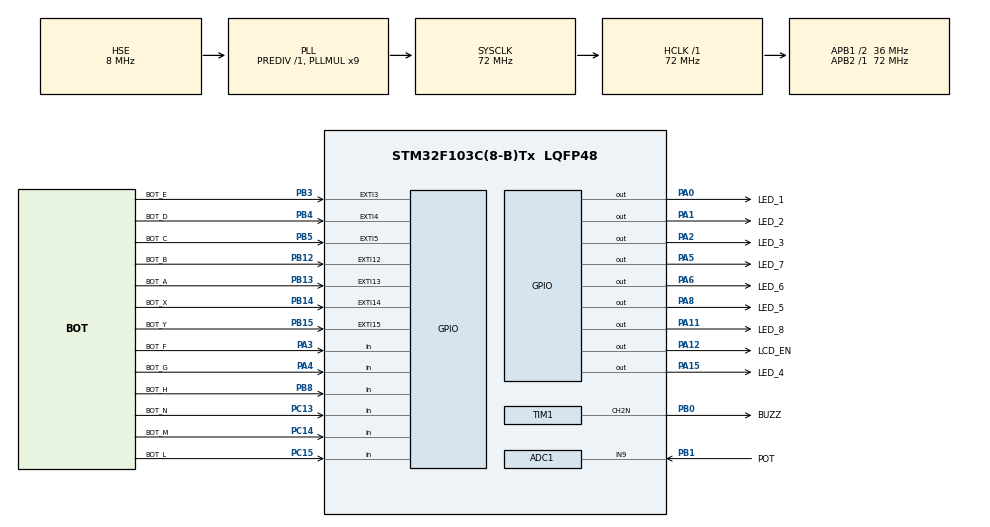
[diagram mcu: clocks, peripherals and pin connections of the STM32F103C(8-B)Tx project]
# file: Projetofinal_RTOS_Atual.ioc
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ADC1.Channel-0\#ChannelRegularConversion=ADC_CHANNEL_9
ADC1.NbrOfConversionFlag=1
ADC1.Rank-0\#ChannelRegularConversion=1
ADC1.SamplingTime-0\#ChannelRegularConversion=ADC_SAMPLETIME_1CYCLE_5
ADC1.master=1
FREERTOS.Tasks01=defaultTask,24,128,StartDefaultTask,Default,NULL,Dynamic,NULL,NULL
Mcu.Family=STM32F1
Mcu.Name=STM32F103C(8-B)Tx
Mcu.Package=LQFP48
NVIC.EXTI15_10_IRQn=true\:5\:0\:false\:false\:true\:true\:true\:true\:true
NVIC.EXTI3_IRQn=true\:5\:0\:false\:false\:true\:true\:true\:true\:true
NVIC.EXTI4_IRQn=true\:5\:0\:false\:false\:true\:true\:true\:true\:true
NVIC.EXTI9_5_IRQn=true\:5\:0\:false\:false\:true\:true\:true\:true\:true
NVIC.PriorityGroup=NVIC_PRIORITYGROUP_4
NVIC.TIM2_IRQn=true\:15\:0\:false\:false\:true\:false\:false\:true\:true
NVIC.TimeBase=TIM2_IRQn
NVIC.TimeBaseIP=TIM2
PA0-WKUP.GPIO_Label=LED_1
PA0-WKUP.Signal=GPIO_Output
PA1.GPIO_Label=LED_2
PA1.Signal=GPIO_Output
PA11.GPIO_Label=LED_8
PA11.Signal=GPIO_Output
PA12.GPIO_Label=LCD_EN
PA12.Signal=GPIO_Output
PA13.Mode=Serial_Wire
PA13.Signal=SYS_JTMS-SWDIO
PA14.Mode=Serial_Wire
PA14.Signal=SYS_JTCK-SWCLK
PA15.GPIO_Label=LED_4
PA15.Signal=GPIO_Output
PA2.GPIO_Label=LED_3
PA2.Signal=GPIO_Output
PA3.GPIO_Label=BOT_F
PA3.GPIO_PuPd=GPIO_PULLUP
PA3.Signal=GPIO_Input
PA4.GPIO_Label=BOT_G
PA4.GPIO_PuPd=GPIO_PULLUP
PA4.Signal=GPIO_Input
PA5.GPIO_Label=LED_7
PA5.Signal=GPIO_Output
PA6.GPIO_Label=LED_6
PA6.Signal=GPIO_Output
PA8.GPIO_Label=LED_5
PA8.Signal=GPIO_Output
PB0.GPIO_Label=BUZZ
PB0.Mode=PWM Generation2 CH2N
PB0.Signal=TIM1_CH2N
PB1.GPIO_Label=POT
PB1.Signal=ADCx_IN9
PB12.GPIO_Label=BOT_B
PB12.GPIO_PuPd=GPIO_PULLUP
PB12.Signal=GPXTI12
PB13.GPIO_Label=BOT_A
PB13.GPIO_PuPd=GPIO_PULLUP
PB13.Signal=GPXTI13
PB14.GPIO_Label=BOT_X
PB14.GPIO_PuPd=GPIO_PULLUP
PB14.Signal=GPXTI14
PB15.GPIO_Label=BOT_Y
PB15.GPIO_PuPd=GPIO_PULLUP
PB15.Signal=GPXTI15
PB3.GPIO_Label=BOT_E
PB3.GPIO_PuPd=GPIO_PULLUP
PB3.Signal=GPXTI3
PB4.GPIO_Label=BOT_D
PB4.GPIO_PuPd=GPIO_PULLUP
PB4.Signal=GPXTI4
PB5.GPIO_Label=BOT_C
PB5.GPIO_PuPd=GPIO_PULLUP
PB5.Signal=GPXTI5
PB8.GPIO_Label=BOT_H
PB8.GPIO_PuPd=GPIO_PULLUP
PB8.Signal=GPIO_Input
PC13-TAMPER-RTC.GPIO_Label=BOT_N
PC13-TAMPER-RTC.GPIO_PuPd=GPIO_PULLUP
PC13-TAMPER-RTC.Signal=GPIO_Input
PC14-OSC32_IN.GPIO_Label=BOT_M
PC14-OSC32_IN.GPIO_PuPd=GPIO_PULLUP
PC14-OSC32_IN.Signal=GPIO_Input
PC15-OSC32_OUT.GPIO_Label=BOT_L
PC15-OSC32_OUT.GPIO_PuPd=GPIO_PULLUP
PC15-OSC32_OUT.Signal=GPIO_Input
PD0-OSC_IN.Mode=HSE-External-Oscillator
PD0-OSC_IN.Signal=RCC_OSC_IN
PD1-OSC_OUT.Mode=HSE-External-Oscillator
PD1-OSC_OUT.Signal=RCC_OSC_OUT
ProjectManager.HeapSize=0x200
ProjectManager.StackSize=0x400
ProjectManager.TargetToolchain=STM32CubeIDE
RCC.ADCPresc=RCC_ADCPCLK2_DIV6
RCC.AHBFreq_Value=72000000
RCC.APB1CLKDivider=RCC_HCLK_DIV2
RCC.APB1Freq_Value=36000000
RCC.APB1TimFreq_Value=72000000
RCC.APB2Freq_Value=72000000
RCC.APB2TimFreq_Value=72000000
RCC.HCLKFreq_Value=72000000
RCC.PLLMUL=RCC_PLL_MUL9
RCC.PLLSourceVirtual=RCC_PLLSOURCE_HSE
RCC.SYSCLKFreq_VALUE=72000000
RCC.SYSCLKSource=RCC_SYSCLKSOURCE_PLLCLK
RCC.USBFreq_Value=72000000
SH.ADCx_IN9.0=ADC1_IN9,IN9
TIM1.Channel-PWM\ Generation2\ CH2N=TIM_CHANNEL_2
VP_FREERTOS_VS_CMSIS_V2.Mode=CMSIS_V2
VP_SYS_VS_tim2.Mode=TIM2
board=custom

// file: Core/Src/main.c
/* USER CODE BEGIN Header */
/**
  ******************************************************************************
  * @file           : main.c
  * @brief          : Main program body
  ******************************************************************************
  * @attention
  *
  * Copyright (c) 2025 STMicroelectronics.
  * All rights reserved.
  *
  * This software is licensed under terms that can be found in the LICENSE file
  * in the root directory of this software component.
  * If no LICENSE file comes with this software, it is provided AS-IS.
  *
  ******************************************************************************
  */
/* USER CODE END Header */
#include "main.h"
#include "cmsis_os.h"

/* USER CODE BEGIN Includes */
#include "threads_app.h"
/* USER CODE END Includes */

ADC_HandleTypeDef hadc1;

TIM_HandleTypeDef htim1;

/* Definitions for defaultTask */
osThreadId_t defaultTaskHandle;
const osThreadAttr_t defaultTask_attributes = {
  .name = "defaultTask",
  .stack_size = 128 * 4,
  .priority = (osPriority_t) osPriorityNormal,
};
/* USER CODE BEGIN PV */
//cria variaveis para guardar ID de cada thread
osThreadId_t threadLedParesImparesId;
osThreadId_t threadLedGrayCodeId;
osThreadId_t threadPotenciometroId;
osThreadId_t threadControleBotId;
osThreadId_t threadPollingBotoesId;
osThreadId_t threadBuzzerId;
osThreadId_t threadSuavizacaoId;
osThreadId_t threadStatusLedId;
osThreadId_t threadWatchdogId;
osThreadId_t threadKnightRiderId;
osThreadId_t threadBinaryCounterId;
osThreadId_t threadGestoraDeEstadoId;
osThreadId_t threadADCReaderId;

volatile uint32_t ultimo_timestamp_interrupcao = 0;
osMessageQueueId_t g_eventQueueHandle;

/* USER CODE END PV */

void SystemClock_Config(void);
static void MX_GPIO_Init(void);
static void MX_ADC1_Init(void);
static void MX_TIM1_Init(void);
void StartDefaultTask(void *argument);

int main(void)
{

  /* MCU Configuration--------------------------------------------------------*/

  /* Reset of all peripherals, Initializes the Flash interface and the Systick. */
  HAL_Init();

  /* Configure the system clock */
  SystemClock_Config();

  /* Initialize all configured peripherals */
  MX_GPIO_Init();
  MX_ADC1_Init();
  MX_TIM1_Init();
  /* USER CODE BEGIN 2 */
  HAL_ADCEx_Calibration_Start(&hadc1);
  HAL_TIMEx_PWMN_Start(&htim1, TIM_CHANNEL_2); // Inicia o PWM para o buzzer

  /* USER CODE END 2 */

  /* Init scheduler */
  osKernelInitialize();

  /* USER CODE BEGIN RTOS_MUTEX */
  /* add mutexes, ... */
  const osMutexAttr_t FuncMutex_attributes = { .name = "funcMutex" };
  g_FuncMutexHandle = osMutexNew(&FuncMutex_attributes);

  /* USER CODE END RTOS_MUTEX */

  /* USER CODE BEGIN RTOS_QUEUES */
  /* add queues, ... */
  // A fila pode conter até 8 mensagens do tipo SystemEvent_t
  g_eventQueueHandle = osMessageQueueNew(8, sizeof(SystemEvent_t), NULL);

  /* USER CODE END RTOS_QUEUES */

  /* Create the thread(s) */
  /* creation of defaultTask */
  defaultTaskHandle = osThreadNew(StartDefaultTask, NULL, &defaultTask_attributes);

  /* USER CODE BEGIN RTOS_THREADS */
  /* add threads, ... */
  // Criação de threads aqui:
  threadLedParesImparesId = osThreadNew(ThreadLedParesImpares, NULL, NULL);
  threadLedGrayCodeId = osThreadNew(ThreadLedGrayCode, NULL, NULL);
  threadPotenciometroId = osThreadNew(ThreadPotenciometro, NULL, NULL);
  threadPollingBotoesId = osThreadNew(ThreadPollingBotoes, NULL, NULL);
  threadControleBotId = osThreadNew(ThreadControleBot, NULL, NULL);
  threadBuzzerId = osThreadNew(ThreadBuzzer, NULL, NULL);
  threadSuavizacaoId = osThreadNew(ThreadSuavizacao, NULL, NULL);
  threadStatusLedId = osThreadNew(ThreadStatusLed, NULL, NULL);
  threadWatchdogId = osThreadNew(ThreadWatchdog, NULL, NULL);
  threadKnightRiderId = osThreadNew(ThreadKnightRider, NULL, NULL);
  threadBinaryCounterId = osThreadNew(ThreadBinaryCounter, NULL, NULL);
  threadGestoraDeEstadoId = osThreadNew(ThreadGestoraDeEstado, NULL, NULL);

  //thread dedicada a ler o ADC - ALTA PRIORIDADE
  const osThreadAttr_t adcreader_attributes = {
		  .name = "adcReader",
          .priority = (osPriority_t) osPriorityHigh,
  };
  threadADCReaderId = osThreadNew(ThreadADCReader, NULL, &adcreader_attributes);

  //teste paar ver se a criação da thread falhou
  if (threadGestoraDeEstadoId  == NULL)
  {
      // A criação da thread falhou!
	  g_sistema_em_erro = true;
  }
  /* USER CODE END RTOS_THREADS */

  /* Start scheduler */
  osKernelStart();

  /* We should never get here as control is now taken by the scheduler */

  /* Infinite loop */
  while (1)
  {

  }
}

void SystemClock_Config(void)
{
  RCC_OscInitTypeDef RCC_OscInitStruct = {0};
  RCC_ClkInitTypeDef RCC_ClkInitStruct = {0};
  RCC_PeriphCLKInitTypeDef PeriphClkInit = {0};

  /** Initializes the RCC Oscillators according to the specified parameters
  * in the RCC_OscInitTypeDef structure.
  */
  RCC_OscInitStruct.OscillatorType = RCC_OSCILLATORTYPE_HSE;
  RCC_OscInitStruct.HSEState = RCC_HSE_ON;
  RCC_OscInitStruct.HSEPredivValue = RCC_HSE_PREDIV_DIV1;
  RCC_OscInitStruct.HSIState = RCC_HSI_ON;
  RCC_OscInitStruct.PLL.PLLState = RCC_PLL_ON;
  RCC_OscInitStruct.PLL.PLLSource = RCC_PLLSOURCE_HSE;
  RCC_OscInitStruct.PLL.PLLMUL = RCC_PLL_MUL9;
  if (HAL_RCC_OscConfig(&RCC_OscInitStruct) != HAL_OK)
  {
    Error_Handler();
  }

  /** Initializes the CPU, AHB and APB buses clocks
  */
  RCC_ClkInitStruct.ClockType = RCC_CLOCKTYPE_HCLK|RCC_CLOCKTYPE_SYSCLK
                              |RCC_CLOCKTYPE_PCLK1|RCC_CLOCKTYPE_PCLK2;
  RCC_ClkInitStruct.SYSCLKSource = RCC_SYSCLKSOURCE_PLLCLK;
  RCC_ClkInitStruct.AHBCLKDivider = RCC_SYSCLK_DIV1;
  RCC_ClkInitStruct.APB1CLKDivider = RCC_HCLK_DIV2;
  RCC_ClkInitStruct.APB2CLKDivider = RCC_HCLK_DIV1;

  if (HAL_RCC_ClockConfig(&RCC_ClkInitStruct, FLASH_LATENCY_2) != HAL_OK)
  {
    Error_Handler();
  }
  PeriphClkInit.PeriphClockSelection = RCC_PERIPHCLK_ADC;
  PeriphClkInit.AdcClockSelection = RCC_ADCPCLK2_DIV6;
  if (HAL_RCCEx_PeriphCLKConfig(&PeriphClkInit) != HAL_OK)
  {
    Error_Handler();
  }
}

static void MX_ADC1_Init(void)
{

  ADC_ChannelConfTypeDef sConfig = {0};

  /** Common config
  */
  hadc1.Instance = ADC1;
  hadc1.Init.ScanConvMode = ADC_SCAN_DISABLE;
  hadc1.Init.ContinuousConvMode = DISABLE;
  hadc1.Init.DiscontinuousConvMode = DISABLE;
  hadc1.Init.ExternalTrigConv = ADC_SOFTWARE_START;
  hadc1.Init.DataAlign = ADC_DATAALIGN_RIGHT;
  hadc1.Init.NbrOfConversion = 1;
  if (HAL_ADC_Init(&hadc1) != HAL_OK)
  {
    Error_Handler();
  }

  /** Configure Regular Channel
  */
  sConfig.Channel = ADC_CHANNEL_9;
  sConfig.Rank = ADC_REGULAR_RANK_1;
  sConfig.SamplingTime = ADC_SAMPLETIME_1CYCLE_5;
  if (HAL_ADC_ConfigChannel(&hadc1, &sConfig) != HAL_OK)
  {
    Error_Handler();
  }

}

static void MX_TIM1_Init(void)
{

  TIM_MasterConfigTypeDef sMasterConfig = {0};
  TIM_OC_InitTypeDef sConfigOC = {0};
  TIM_BreakDeadTimeConfigTypeDef sBreakDeadTimeConfig = {0};

  htim1.Instance = TIM1;
  htim1.Init.Prescaler = 0;
  htim1.Init.CounterMode = TIM_COUNTERMODE_UP;
  htim1.Init.Period = 65535;
  htim1.Init.ClockDivision = TIM_CLOCKDIVISION_DIV1;
  htim1.Init.RepetitionCounter = 0;
  htim1.Init.AutoReloadPreload = TIM_AUTORELOAD_PRELOAD_DISABLE;
  if (HAL_TIM_PWM_Init(&htim1) != HAL_OK)
  {
    Error_Handler();
  }
  sMasterConfig.MasterOutputTrigger = TIM_TRGO_RESET;
  sMasterConfig.MasterSlaveMode = TIM_MASTERSLAVEMODE_DISABLE;
  if (HAL_TIMEx_MasterConfigSynchronization(&htim1, &sMasterConfig) != HAL_OK)
  {
    Error_Handler();
  }
  sConfigOC.OCMode = TIM_OCMODE_PWM1;
  sConfigOC.Pulse = 0;
  sConfigOC.OCPolarity = TIM_OCPOLARITY_HIGH;
  sConfigOC.OCNPolarity = TIM_OCNPOLARITY_HIGH;
  sConfigOC.OCFastMode = TIM_OCFAST_DISABLE;
  sConfigOC.OCIdleState = TIM_OCIDLESTATE_RESET;
  sConfigOC.OCNIdleState = TIM_OCNIDLESTATE_RESET;
  if (HAL_TIM_PWM_ConfigChannel(&htim1, &sConfigOC, TIM_CHANNEL_2) != HAL_OK)
  {
    Error_Handler();
  }
  sBreakDeadTimeConfig.OffStateRunMode = TIM_OSSR_DISABLE;
  sBreakDeadTimeConfig.OffStateIDLEMode = TIM_OSSI_DISABLE;
  sBreakDeadTimeConfig.LockLevel = TIM_LOCKLEVEL_OFF;
  sBreakDeadTimeConfig.DeadTime = 0;
  sBreakDeadTimeConfig.BreakState = TIM_BREAK_DISABLE;
  sBreakDeadTimeConfig.BreakPolarity = TIM_BREAKPOLARITY_HIGH;
  sBreakDeadTimeConfig.AutomaticOutput = TIM_AUTOMATICOUTPUT_DISABLE;
  if (HAL_TIMEx_ConfigBreakDeadTime(&htim1, &sBreakDeadTimeConfig) != HAL_OK)
  {
    Error_Handler();
  }
  HAL_TIM_MspPostInit(&htim1);

}

static void MX_GPIO_Init(void)
{
  GPIO_InitTypeDef GPIO_InitStruct = {0};

  /* GPIO Ports Clock Enable */
  __HAL_RCC_GPIOC_CLK_ENABLE();
  __HAL_RCC_GPIOD_CLK_ENABLE();
  __HAL_RCC_GPIOA_CLK_ENABLE();
  __HAL_RCC_GPIOB_CLK_ENABLE();

  /*Configure GPIO pin Output Level */
  HAL_GPIO_WritePin(GPIOA, LED_1_Pin|LED_2_Pin|LED_3_Pin|LED_7_Pin
                          |LED_6_Pin|LED_5_Pin|LED_8_Pin|LCD_EN_Pin
                          |LED_4_Pin, GPIO_PIN_RESET);

  /*Configure GPIO pins : BOT_N_Pin BOT_M_Pin BOT_L_Pin */
  GPIO_InitStruct.Pin = BOT_N_Pin|BOT_M_Pin|BOT_L_Pin;
  GPIO_InitStruct.Mode = GPIO_MODE_INPUT;
  GPIO_InitStruct.Pull = GPIO_PULLUP;
  HAL_GPIO_Init(GPIOC, &GPIO_InitStruct);

  /*Configure GPIO pins : LED_1_Pin LED_2_Pin LED_3_Pin LED_7_Pin
                           LED_6_Pin LED_5_Pin LED_8_Pin LCD_EN_Pin
                           LED_4_Pin */
  GPIO_InitStruct.Pin = LED_1_Pin|LED_2_Pin|LED_3_Pin|LED_7_Pin
                          |LED_6_Pin|LED_5_Pin|LED_8_Pin|LCD_EN_Pin
                          |LED_4_Pin;
  GPIO_InitStruct.Mode = GPIO_MODE_OUTPUT_PP;
  GPIO_InitStruct.Pull = GPIO_NOPULL;
  GPIO_InitStruct.Speed = GPIO_SPEED_FREQ_LOW;
  HAL_GPIO_Init(GPIOA, &GPIO_InitStruct);

  /*Configure GPIO pins : BOT_F_Pin BOT_G_Pin */
  GPIO_InitStruct.Pin = BOT_F_Pin|BOT_G_Pin;
  GPIO_InitStruct.Mode = GPIO_MODE_INPUT;
  GPIO_InitStruct.Pull = GPIO_PULLUP;
  HAL_GPIO_Init(GPIOA, &GPIO_InitStruct);

  /*Configure GPIO pins : BOT_B_Pin BOT_A_Pin BOT_X_Pin BOT_Y_Pin
                           BOT_E_Pin BOT_D_Pin BOT_C_Pin */
  GPIO_InitStruct.Pin = BOT_B_Pin|BOT_A_Pin|BOT_X_Pin|BOT_Y_Pin
                          |BOT_E_Pin|BOT_D_Pin|BOT_C_Pin;
  GPIO_InitStruct.Mode = GPIO_MODE_IT_RISING;
  GPIO_InitStruct.Pull = GPIO_PULLUP;
  HAL_GPIO_Init(GPIOB, &GPIO_InitStruct);

  /*Configure GPIO pin : BOT_H_Pin */
  GPIO_InitStruct.Pin = BOT_H_Pin;
  GPIO_InitStruct.Mode = GPIO_MODE_INPUT;
  GPIO_InitStruct.Pull = GPIO_PULLUP;
  HAL_GPIO_Init(BOT_H_GPIO_Port, &GPIO_InitStruct);

  /* EXTI interrupt init*/
  HAL_NVIC_SetPriority(EXTI3_IRQn, 5, 0);
  HAL_NVIC_EnableIRQ(EXTI3_IRQn);

  HAL_NVIC_SetPriority(EXTI4_IRQn, 5, 0);
  HAL_NVIC_EnableIRQ(EXTI4_IRQn);

  HAL_NVIC_SetPriority(EXTI9_5_IRQn, 5, 0);
  HAL_NVIC_EnableIRQ(EXTI9_5_IRQn);

  HAL_NVIC_SetPriority(EXTI15_10_IRQn, 5, 0);
  HAL_NVIC_EnableIRQ(EXTI15_10_IRQn);

}

/* USER CODE BEGIN 4 */
// função que reage a eventos de hardware
void HAL_GPIO_EXTI_Callback(uint16_t GPIO_Pin) {
	uint32_t tempo_atual = HAL_GetTick();

	    // Lógica de Debounce: ignora esta interrupção se ela aconteceu
	    // menos de 200ms depois da última que foi processada.
	if (tempo_atual - ultimo_timestamp_interrupcao < 200) {
		return;
	}

	 // Se a interrupção for válida, atualiza o timestamp
	ultimo_timestamp_interrupcao = tempo_atual;

    if (GPIO_Pin == BOT_C_Pin) {
        osThreadFlagsSet(threadControleBotId, SINAL_BOTAO_C);
    }
    else if (GPIO_Pin == BOT_D_Pin){
    	osThreadFlagsSet(threadControleBotId, SINAL_BOTAO_D);
    }
    else if (GPIO_Pin == BOT_E_Pin){
    	osThreadFlagsSet(threadControleBotId, SINAL_BOTAO_E);
    }
    else if (GPIO_Pin == BOT_X_Pin){
        	osThreadFlagsSet(threadControleBotId, SINAL_BOTAO_X);
        }
    else if (GPIO_Pin == BOT_Y_Pin){
        	osThreadFlagsSet(threadControleBotId, SINAL_BOTAO_Y);
        }
    else if (GPIO_Pin == BOT_A_Pin){
        	osThreadFlagsSet(threadControleBotId, SINAL_BOTAO_A);
        }
    else if (GPIO_Pin == BOT_B_Pin){
        	osThreadFlagsSet(threadControleBotId, SINAL_BOTAO_B);
        }
}
/* USER CODE END 4 */

void StartDefaultTask(void *argument)
{
  for(;;)
  {
    osDelay(1);
  }
}

void HAL_TIM_PeriodElapsedCallback(TIM_HandleTypeDef *htim)
{
  if (htim->Instance == TIM2)
  {
    HAL_IncTick();
  }
}

void Error_Handler(void)
{
  __disable_irq();
  while (1)
  {
  }
}
